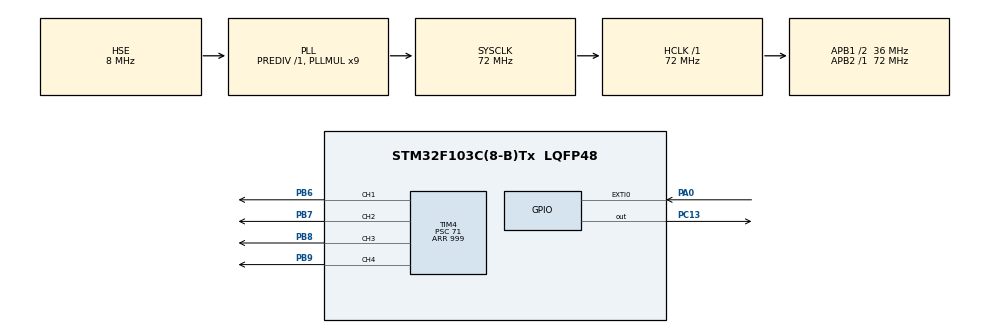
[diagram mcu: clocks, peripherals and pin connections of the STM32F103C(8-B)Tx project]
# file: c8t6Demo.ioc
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Mcu.Family=STM32F1
Mcu.Name=STM32F103C(8-B)Tx
Mcu.Package=LQFP48
NVIC.EXTI0_IRQn=true\:0\:0\:false\:false\:true\:true\:true\:true
NVIC.PriorityGroup=NVIC_PRIORITYGROUP_4
PA0-WKUP.GPIO_ModeDefaultEXTI=GPIO_MODE_IT_FALLING
PA0-WKUP.GPIO_PuPd=GPIO_PULLUP
PA0-WKUP.Signal=GPXTI0
PA13.Mode=Serial_Wire
PA13.Signal=SYS_JTMS-SWDIO
PA14.Mode=Serial_Wire
PA14.Signal=SYS_JTCK-SWCLK
PB6.Signal=S_TIM4_CH1
PB7.Signal=S_TIM4_CH2
PB8.Signal=S_TIM4_CH3
PB9.Signal=S_TIM4_CH4
PC13-TAMPER-RTC.Signal=GPIO_Output
PC14-OSC32_IN.Mode=LSE-External-Oscillator
PC14-OSC32_IN.Signal=RCC_OSC32_IN
PC15-OSC32_OUT.Mode=LSE-External-Oscillator
PC15-OSC32_OUT.Signal=RCC_OSC32_OUT
PD0-OSC_IN.Mode=HSE-External-Oscillator
PD0-OSC_IN.Signal=RCC_OSC_IN
PD1-OSC_OUT.Mode=HSE-External-Oscillator
PD1-OSC_OUT.Signal=RCC_OSC_OUT
ProjectManager.HeapSize=0x200
ProjectManager.StackSize=0x400
ProjectManager.TargetToolchain=MDK-ARM V5.32
RCC.AHBFreq_Value=72000000
RCC.APB1CLKDivider=RCC_HCLK_DIV2
RCC.APB1Freq_Value=36000000
RCC.APB1TimFreq_Value=72000000
RCC.APB2Freq_Value=72000000
RCC.APB2TimFreq_Value=72000000
RCC.HCLKFreq_Value=72000000
RCC.PLLMUL=RCC_PLL_MUL9
RCC.PLLSourceVirtual=RCC_PLLSOURCE_HSE
RCC.SYSCLKFreq_VALUE=72000000
RCC.SYSCLKSource=RCC_SYSCLKSOURCE_PLLCLK
RCC.USBFreq_Value=72000000
SH.S_TIM4_CH1.0=TIM4_CH1,PWM Generation1 CH1
SH.S_TIM4_CH2.0=TIM4_CH2,PWM Generation2 CH2
SH.S_TIM4_CH3.0=TIM4_CH3,PWM Generation3 CH3
SH.S_TIM4_CH4.0=TIM4_CH4,Output Compare4 CH4
TIM4.AutoReloadPreload=TIM_AUTORELOAD_PRELOAD_ENABLE
TIM4.Channel-Output\ Compare4\ CH4=TIM_CHANNEL_4
TIM4.Channel-PWM\ Generation1\ CH1=TIM_CHANNEL_1
TIM4.Channel-PWM\ Generation2\ CH2=TIM_CHANNEL_2
TIM4.Channel-PWM\ Generation3\ CH3=TIM_CHANNEL_3
TIM4.Period=999
TIM4.Prescaler=71
board=custom

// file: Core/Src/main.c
/* USER CODE BEGIN Header */
/**
 ******************************************************************************
 * @file           : main.c
 * @brief          : Main program body
 ******************************************************************************
 * @attention
 *
 * Copyright (c) 2022 STMicroelectronics.
 * All rights reserved.
 *
 * This software is licensed under terms that can be found in the LICENSE file
 * in the root directory of this software component.
 * If no LICENSE file comes with this software, it is provided AS-IS.
 *
 ******************************************************************************
 */
/* USER CODE END Header */
#include "main.h"

 TIM_HandleTypeDef htim4;

void SystemClock_Config(void);
static void MX_GPIO_Init(void);
static void MX_TIM4_Init(void);

/* USER CODE BEGIN 0 */
int flag = 1;
void run(uint8_t cmd, int speed){
  switch (cmd)
  {
  case 0x00:
    __HAL_TIM_SET_COMPARE(&htim4, TIM_CHANNEL_1, 0);
    __HAL_TIM_SET_COMPARE(&htim4, TIM_CHANNEL_2, speed);
    break;
  case 0x01:
    __HAL_TIM_SET_COMPARE(&htim4, TIM_CHANNEL_1, speed);
    __HAL_TIM_SET_COMPARE(&htim4, TIM_CHANNEL_2, 0);
    break;
  case 0x02:
    __HAL_TIM_SET_COMPARE(&htim4, TIM_CHANNEL_1, 0);
    __HAL_TIM_SET_COMPARE(&htim4, TIM_CHANNEL_2, 0);
    break;
  case 0x03:
    __HAL_TIM_SET_COMPARE(&htim4, TIM_CHANNEL_1, 1);
    __HAL_TIM_SET_COMPARE(&htim4, TIM_CHANNEL_2, 1);
    break;
  default:
    break;
  }
}
/* USER CODE END 0 */

int main(void)
{

  /* MCU Configuration--------------------------------------------------------*/

  /* Reset of all peripherals, Initializes the Flash interface and the Systick. */
  HAL_Init();

  /* Configure the system clock */
  SystemClock_Config();

  /* Initialize all configured peripherals */
  MX_GPIO_Init();
  MX_TIM4_Init();
  /* USER CODE BEGIN 2 */
  HAL_TIM_Base_Start_IT(&htim4);
  //�?????启PWM输出
  HAL_TIM_PWM_Start(&htim4, TIM_CHANNEL_1);
  HAL_TIM_PWM_Start(&htim4, TIM_CHANNEL_2);
  HAL_TIM_PWM_Start(&htim4, TIM_CHANNEL_3);
  HAL_TIM_PWM_Start(&htim4, TIM_CHANNEL_4);
  /* USER CODE END 2 */

  /* Infinite loop */
  while (1)
  {

    /* USER CODE BEGIN 3 */
    if (flag)
    {
      __HAL_TIM_SET_COMPARE(&htim4, TIM_CHANNEL_1, 0);
      __HAL_TIM_SET_COMPARE(&htim4, TIM_CHANNEL_2, 500);
      HAL_Delay(1000);
    }else{
       __HAL_TIM_SET_COMPARE(&htim4, TIM_CHANNEL_1, 0);
      __HAL_TIM_SET_COMPARE(&htim4, TIM_CHANNEL_2, 0);

    }
  }
  /* USER CODE END 3 */
}

void SystemClock_Config(void)
{
  RCC_OscInitTypeDef RCC_OscInitStruct = {0};
  RCC_ClkInitTypeDef RCC_ClkInitStruct = {0};

  /** Initializes the RCC Oscillators according to the specified parameters
  * in the RCC_OscInitTypeDef structure.
  */
  RCC_OscInitStruct.OscillatorType = RCC_OSCILLATORTYPE_HSE;
  RCC_OscInitStruct.HSEState = RCC_HSE_ON;
  RCC_OscInitStruct.HSEPredivValue = RCC_HSE_PREDIV_DIV1;
  RCC_OscInitStruct.HSIState = RCC_HSI_ON;
  RCC_OscInitStruct.PLL.PLLState = RCC_PLL_ON;
  RCC_OscInitStruct.PLL.PLLSource = RCC_PLLSOURCE_HSE;
  RCC_OscInitStruct.PLL.PLLMUL = RCC_PLL_MUL9;
  if (HAL_RCC_OscConfig(&RCC_OscInitStruct) != HAL_OK)
  {
    Error_Handler();
  }

  /** Initializes the CPU, AHB and APB buses clocks
  */
  RCC_ClkInitStruct.ClockType = RCC_CLOCKTYPE_HCLK|RCC_CLOCKTYPE_SYSCLK
                              |RCC_CLOCKTYPE_PCLK1|RCC_CLOCKTYPE_PCLK2;
  RCC_ClkInitStruct.SYSCLKSource = RCC_SYSCLKSOURCE_PLLCLK;
  RCC_ClkInitStruct.AHBCLKDivider = RCC_SYSCLK_DIV1;
  RCC_ClkInitStruct.APB1CLKDivider = RCC_HCLK_DIV2;
  RCC_ClkInitStruct.APB2CLKDivider = RCC_HCLK_DIV1;

  if (HAL_RCC_ClockConfig(&RCC_ClkInitStruct, FLASH_LATENCY_2) != HAL_OK)
  {
    Error_Handler();
  }
}

static void MX_TIM4_Init(void)
{

  TIM_MasterConfigTypeDef sMasterConfig = {0};
  TIM_OC_InitTypeDef sConfigOC = {0};

  htim4.Instance = TIM4;
  htim4.Init.Prescaler = 71;
  htim4.Init.CounterMode = TIM_COUNTERMODE_UP;
  htim4.Init.Period = 999;
  htim4.Init.ClockDivision = TIM_CLOCKDIVISION_DIV1;
  htim4.Init.AutoReloadPreload = TIM_AUTORELOAD_PRELOAD_ENABLE;
  if (HAL_TIM_PWM_Init(&htim4) != HAL_OK)
  {
    Error_Handler();
  }
  if (HAL_TIM_OC_Init(&htim4) != HAL_OK)
  {
    Error_Handler();
  }
  sMasterConfig.MasterOutputTrigger = TIM_TRGO_RESET;
  sMasterConfig.MasterSlaveMode = TIM_MASTERSLAVEMODE_DISABLE;
  if (HAL_TIMEx_MasterConfigSynchronization(&htim4, &sMasterConfig) != HAL_OK)
  {
    Error_Handler();
  }
  sConfigOC.OCMode = TIM_OCMODE_PWM1;
  sConfigOC.Pulse = 0;
  sConfigOC.OCPolarity = TIM_OCPOLARITY_HIGH;
  sConfigOC.OCFastMode = TIM_OCFAST_DISABLE;
  if (HAL_TIM_PWM_ConfigChannel(&htim4, &sConfigOC, TIM_CHANNEL_1) != HAL_OK)
  {
    Error_Handler();
  }
  if (HAL_TIM_PWM_ConfigChannel(&htim4, &sConfigOC, TIM_CHANNEL_2) != HAL_OK)
  {
    Error_Handler();
  }
  if (HAL_TIM_PWM_ConfigChannel(&htim4, &sConfigOC, TIM_CHANNEL_3) != HAL_OK)
  {
    Error_Handler();
  }
  sConfigOC.OCMode = TIM_OCMODE_TIMING;
  if (HAL_TIM_OC_ConfigChannel(&htim4, &sConfigOC, TIM_CHANNEL_4) != HAL_OK)
  {
    Error_Handler();
  }
  HAL_TIM_MspPostInit(&htim4);

}

static void MX_GPIO_Init(void)
{
  GPIO_InitTypeDef GPIO_InitStruct = {0};

  /* GPIO Ports Clock Enable */
  __HAL_RCC_GPIOC_CLK_ENABLE();
  __HAL_RCC_GPIOD_CLK_ENABLE();
  __HAL_RCC_GPIOA_CLK_ENABLE();
  __HAL_RCC_GPIOB_CLK_ENABLE();

  /*Configure GPIO pin Output Level */
  HAL_GPIO_WritePin(GPIOC, GPIO_PIN_13, GPIO_PIN_RESET);

  /*Configure GPIO pin : PC13 */
  GPIO_InitStruct.Pin = GPIO_PIN_13;
  GPIO_InitStruct.Mode = GPIO_MODE_OUTPUT_PP;
  GPIO_InitStruct.Pull = GPIO_NOPULL;
  GPIO_InitStruct.Speed = GPIO_SPEED_FREQ_LOW;
  HAL_GPIO_Init(GPIOC, &GPIO_InitStruct);

  /*Configure GPIO pin : PA0 */
  GPIO_InitStruct.Pin = GPIO_PIN_0;
  GPIO_InitStruct.Mode = GPIO_MODE_IT_FALLING;
  GPIO_InitStruct.Pull = GPIO_PULLUP;
  HAL_GPIO_Init(GPIOA, &GPIO_InitStruct);

  /* EXTI interrupt init*/
  HAL_NVIC_SetPriority(EXTI0_IRQn, 0, 0);
  HAL_NVIC_EnableIRQ(EXTI0_IRQn);

}

/* USER CODE BEGIN 4 */
void HAL_GPIO_EXTI_Callback(uint16_t GPIO_Pin)
{
  if (GPIO_Pin == GPIO_PIN_0)
  {
    HAL_GPIO_TogglePin(GPIOC, GPIO_PIN_13);
    if (flag)
    {
      flag = 0;
    }
    else
    {
      flag = 1;
    }
  }
}
/* USER CODE END 4 */

void Error_Handler(void)
{
  __disable_irq();
  while (1)
  {
  }
}
